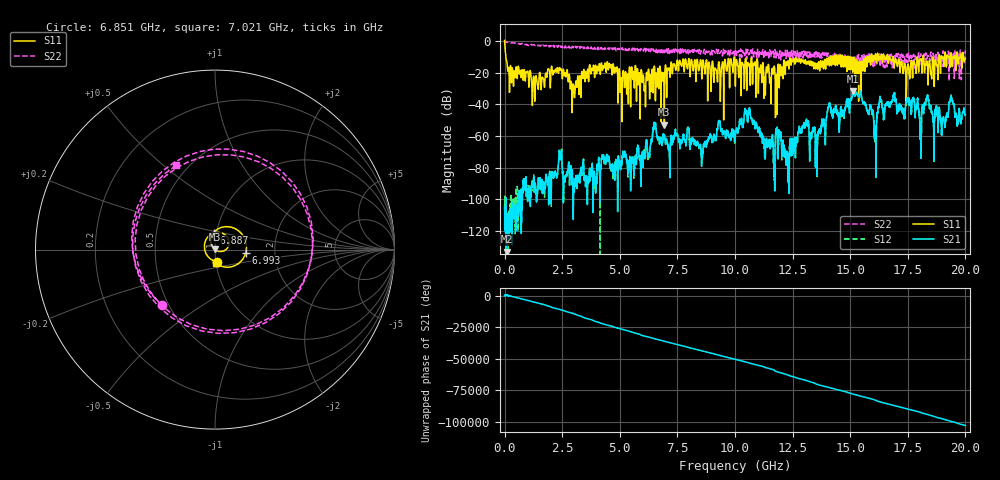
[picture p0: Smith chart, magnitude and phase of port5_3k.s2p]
! MS46122B
! 2250307/22442219
! 8/1/2025 10:34:06 AM
! C:\USERS\SPARKY\DOCUMENTS\VNA_DATA\AUGUST1_2025\3K\PORT5.S2P
! CHANNEL.1
! TR.MEASUREMENT
! RAW.DATA
# GHZ S RI R 50.0
! FREQ.GHZ  S11RE  S11IM  S21RE  S21IM  S12RE  S12IM  S22RE  S22IM
!; PortSelection: Port_12
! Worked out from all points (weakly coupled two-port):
!   10001 points, 1 MHz to 20 GHz, reference 50 ohm
!   highest |S21| = -31.55 dB at 15.13 GHz (marker M1); lowest = -133.0 dB at 85 MHz (marker M2)
!   lowest |S11| = -52.8 dB at 6.935 GHz (marker M3), VSWR 1.00, Z = 49.8 + j0.0733 ohm
!   |S11| at or under -10 dB: 53.5 MHz to 14.13 GHz (14.08 GHz wide, 198 % of centre); 15 GHz to 15.67 GHz (673.9 MHz wide, 4.4 % of centre); 16.87 GHz to 17.91 GHz (1.04 GHz wide, 5.98 % of centre) (the widest 3 of 39)
!   |S22| runs from -25.2 to 0.1 dB; largest |S21 - S12| = 0.0028
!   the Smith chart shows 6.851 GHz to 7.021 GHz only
!   S11 on the Smith chart (normalised r, x): 6.851 GHz: 1.01, -0.14; 6.887 GHz: 0.97, +0.18; 6.993 GHz: 1.41, -0.06; 7.021 GHz: 1.00, -0.15
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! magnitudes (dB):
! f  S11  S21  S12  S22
! 1 MHz  0.4  -104.8  -106.3  -0.1
! 85 MHz  -12.2  -133.0  -116.6  -0.7
! 1.247 GHz  -23.0  -89.2  -90.6  -2.4
! 3.335 GHz  -21.6  -83.9  -84.0  -4.3
! 5.421 GHz  -16.3  -80.7  -80.4  -5.2
! 6.669 GHz  -17.9  -60.9  -61.1  -4.7
! 6.851 GHz  -23.2  -62.9  -63.1  -7.4
! 6.887 GHz  -20.7  -59.2  -61.7  -4.8
! 6.935 GHz  -52.8  -59.7  -59.6  -7.0
! 6.993 GHz  -15.3  -64.7  -64.4  -6.8
! 7.021 GHz  -22.7  -61.5  -61.8  -5.7
! 10 GHz  -15.4  -61.2  -61.7  -7.2
! 10.57 GHz  -14.5  -47.5  -47.2  -6.9
! 12.26 GHz  -15.4  -70.7  -70.7  -5.9
! 13.04 GHz  -11.7  -54.2  -54.2  -8.7
! 13.33 GHz  -15.7  -59.6  -60.0  -9.0
! 15.13 GHz  -14.7  -31.5  -31.6  -13.5
! 16.08 GHz  -9.3  -53.3  -54.0  -12.4
! 16.28 GHz  -9.5  -37.0  -36.8  -10.1
! 16.67 GHz  -12.6  -40.5  -40.8  -12.9
! 17.51 GHz  -14.7  -35.8  -35.7  -9.2
! 20 GHz  -11.0  -46.6  -47.3  -5.9
